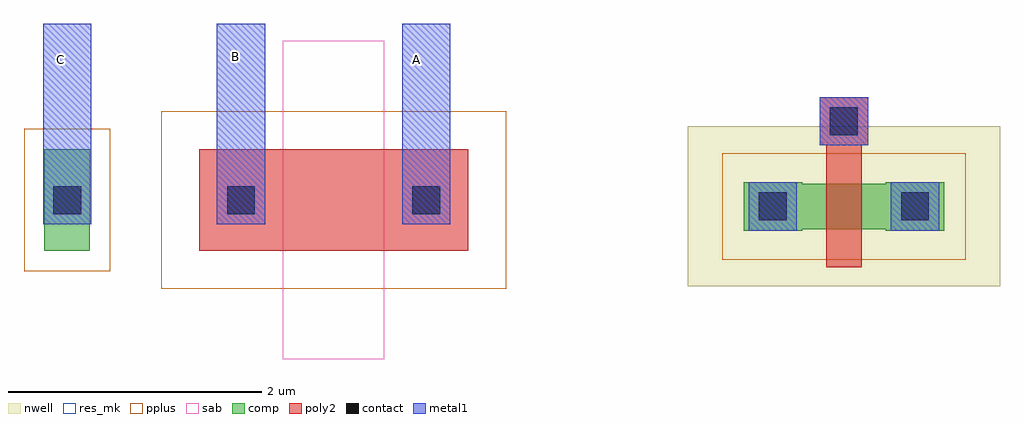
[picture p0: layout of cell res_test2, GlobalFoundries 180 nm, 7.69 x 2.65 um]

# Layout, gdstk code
import gdstk
lib = gdstk.Library(unit=1e-6, precision=5e-09)
def R(c, l, rs):  # rectangles x0, y0, x1, y1
    for r in rs: c.add(gdstk.rectangle(r[:2], r[2:], *l))
nwell = (21, 0)
comp = (22, 0)
poly2 = (30, 0)
pplus = (31, 0)
contact = (33, 0)
metal1 = (34, 0)
sab = (49, 0)
res_mk = (110, 5)

ppolyf_u_resistor = lib.new_cell('ppolyf_u_resistor')
R(ppolyf_u_resistor, comp, [(-1.88,0,-1.52,0.8)])
R(ppolyf_u_resistor, poly2, [(-0.66,0,1.46,0.8)])
R(ppolyf_u_resistor, pplus, [(-0.96,-0.3,1.76,1.1), (-2.04,-0.16,-1.36,0.96)])
R(ppolyf_u_resistor, contact, [(-1.81,0.29,-1.59,0.51), (-0.44,0.29,-0.22,0.51), (1.02,0.29,1.24,0.51)])
R(ppolyf_u_resistor, metal1, [(-1.89,0.21,-1.51,0.59), (-0.52,0.21,-0.14,0.59), (0.94,0.21,1.32,0.59)])
R(ppolyf_u_resistor, sab, [(0,-0.855,0.8,1.655)])
R(ppolyf_u_resistor, res_mk, [(0,0,0.8,0.8)])

pfet_1 = lib.new_cell('pfet$1')
R(pfet_1, nwell, [(-0.9,-0.45,1.56,0.81)])
R(pfet_1, comp, [(-0.46,-0.01,0,0.37), (0.66,-0.01,1.12,0.37), (0,0,0.66,0.36)])
R(pfet_1, poly2, [(0.19,-0.3,0.47,0.66), (0.14,0.66,0.52,1.04)])
R(pfet_1, pplus, [(-0.63,-0.24,1.29,0.6)])
R(pfet_1, contact, [(-0.34,0.07,-0.12,0.29), (0.78,0.07,1,0.29), (0.22,0.74,0.44,0.96)])
R(pfet_1, metal1, [(-0.42,-0.01,-0.04,0.37), (0.7,-0.01,1.08,0.37), (0.14,0.66,0.52,1.04)])

res_test2 = lib.new_cell('res_test2')
res_test2.add(gdstk.FlexPath([(-2.07,0.655),(-2.07,1.855)], 0.38, ends="flush", simple_path=True, layer=34, datatype=0))  # metal1
res_test2.add(gdstk.FlexPath([(-0.7,0.655),(-0.7,1.855)], 0.38, ends="flush", simple_path=True, layer=34, datatype=0))  # metal1
res_test2.add(gdstk.FlexPath([(0.76,0.655),(0.76,1.855)], 0.38, ends="flush", simple_path=True, layer=34, datatype=0))  # metal1
res_test2.add(gdstk.Reference(ppolyf_u_resistor, (-0.37,0.065)))
res_test2.add(gdstk.Reference(pfet_1, (3.72,0.235)))
res_test2.add(gdstk.Label('C', (-2.12,1.57), layer=34, texttype=10))
res_test2.add(gdstk.Label('B', (-0.745,1.6), layer=34, texttype=10))
res_test2.add(gdstk.Label('A', (0.685,1.575), layer=34, texttype=10))

lib.write_gds('res_test2.gds')
